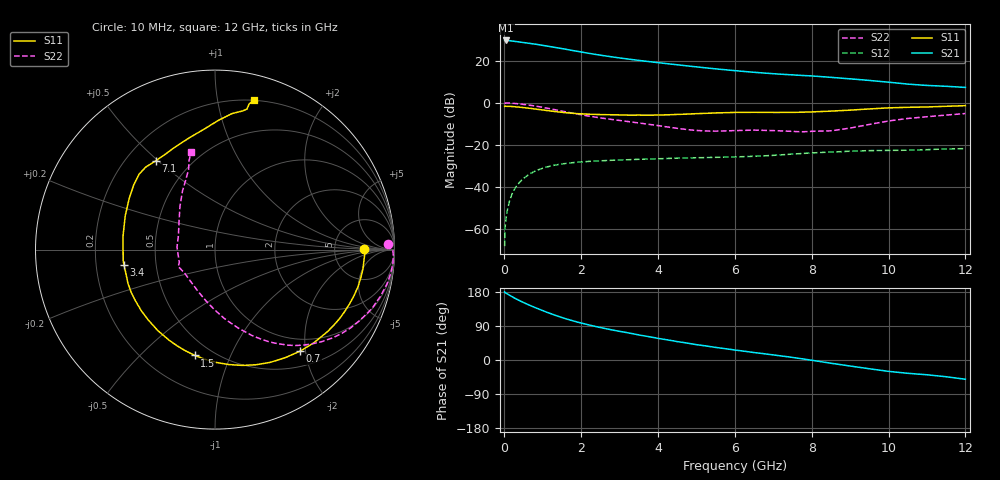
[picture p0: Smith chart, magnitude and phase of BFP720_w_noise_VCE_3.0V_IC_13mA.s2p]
! Infineon Technologies  Discrete & RF Semiconductors
! BFP720
! VCE =  3.0 V,  IC =  13 mA
! Common Emitter S-Parameters:  Aug 2012
# GHz  S  MA  R  50
!  f  S11  S21  S12  S22
! GHz  MAG  ANG  MAG  ANG  MAG  ANG  MAG  ANG
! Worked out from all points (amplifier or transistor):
!   105 points, 10 MHz to 12 GHz, reference 50 ohm
!   highest |S21| = 29.6 dB at 50 MHz (marker M1)
!   |S21| within 3 dB of that: start of sweep to 1.227 GHz
!   unconditionally stable (mu >= 1): start of sweep to 12.45 MHz; 5.065 GHz to 11.11 GHz
!   at 300 MHz: K = 0.11, MSG = 34.6 dB, |S12| = -40.0 dB
!   at 3.6 GHz: K = 0.78, MSG = 23.3 dB, |S12| = -26.7 dB
!   at 12 GHz: K = 0.78, MSG = 14.5 dB, |S12| = -21.7 dB
!   lowest NFmin = 0.59 dB at 450 MHz
!   S11 on the Smith chart (normalised r, x): 10 MHz: 11, +0; 700 MHz: 0.76, -1.90; 1.5 GHz: 0.40, -0.74; 3.4 GHz: 0.32, -0.08; 7.1 GHz: 0.32, +0.49; 12 GHz: 0.20, +1.28
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0.01  0.829 0.3  30.17 179.8  0.0004 -15.4  0.9648 2.0
0.02  0.835 -1.4  30.18 177.9  0.001 89.5  0.9913 -0.4
0.05  0.8325 -3.7  30.36 176.2  0.0019 82.9  0.9943 -2.0
0.25  0.8156 -18.5  29.13 164.4  0.0084 80.3  0.9766 -11.4
0.35  0.8007 -25.6  28.28 159.2  0.0115 76.0  0.9577 -15.8
0.5  0.7754 -36.2  27.08 151.8  0.0161 70.8  0.9243 -22.0
0.7  0.7385 -50.0  25.55 142.8  0.0216 64.0  0.873 -29.9
0.9  0.7001 -63.7  24.05 134.4  0.0262 57.8  0.8165 -37.2
1.1  0.6631 -76.7  22.48 126.4  0.0301 52.1  0.7565 -43.9
1.3  0.6293 -89.2  20.95 119.0  0.0332 47.2  0.6976 -50.0
1.5  0.6002 -100.8  19.47 112.2  0.0357 42.9  0.6411 -55.2
1.8  0.5668 -116.4  17.42 103.0  0.0385 37.5  0.5664 -62.3
2.1  0.5451 -129.2  15.61 95.2  0.0404 33.4  0.5058 -68.1
2.6  0.5275 -146.7  13.19 83.6  0.0428 28.4  0.4292 -76.5
3.4  0.5138 -170.3  10.5 68.2  0.0456 23.2  0.3444 -88.7
4.1  0.519 169.4  8.831 55.5  0.0477 19.9  0.2814 -102.1
5  0.5571 149.0  7.173 40.5  0.0501 16.6  0.2227 -128.0
6.1  0.5966 134.1  5.733 25.1  0.0528 14.8  0.2219 -152.6
7.1  0.5951 123.7  4.871 12.1  0.0579 14.4  0.219 -157.4
8.5  0.6393 102.9  4.05 -8.5  0.0682 8.0  0.2181 159.2
10.5  0.7879 78.7  2.799 -35.1  0.0756 -4.0  0.4282 112.0
12  0.8614 75.2  2.334 -50.8  0.0824 -12.5  0.5599 103.8
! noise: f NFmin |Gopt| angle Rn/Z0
0.45  0.59  0.25  1  0.17
1.8  0.65  0.23  16  0.13
2.4  0.7  0.21  29  0.37
5.5  0.86  0.09  -13  0.17
10  1.05  0.42  -76  0.26
